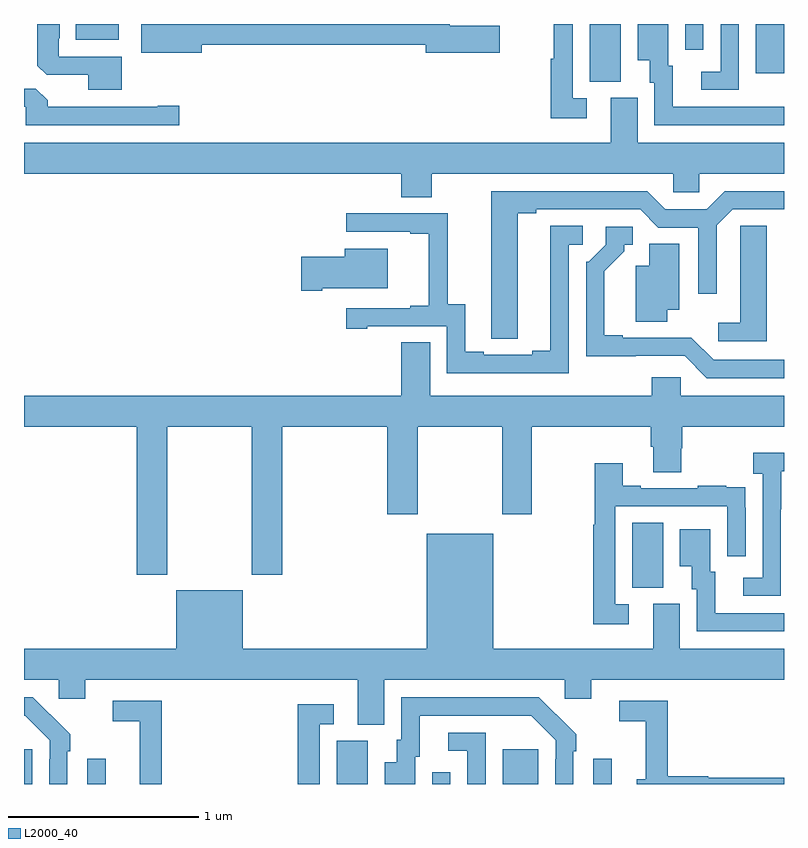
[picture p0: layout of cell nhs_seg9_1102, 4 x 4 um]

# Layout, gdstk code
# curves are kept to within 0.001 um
import gdstk
lib = gdstk.Library(unit=1e-6, precision=1e-09)
def R(c, l, rs):  # rectangles x0, y0, x1, y1
    for r in rs: c.add(gdstk.rectangle(r[:2], r[2:], *l))
def P(c, l, *ps):  # polygons
    for p in ps: c.add(gdstk.Polygon(p, *l))
L2000_40 = (2000, 40)

nhs_seg9_1102 = lib.new_cell('nhs_seg9_1102')
R(nhs_seg9_1102, L2000_40, [(171,1234.5,171.043,1234.684), (171.333,1234.5,171.429,1234.633), (172.646,1234.5,172.81,1234.728), (173.148,1234.5,173.244,1234.561), (173.519,1234.5,173.707,1234.684), (173.997,1234.5,174.093,1234.633), (174.2,1235.533,174.364,1235.876), (173.978,1238.197,174.142,1238.5), (174.851,1238.241,175,1238.5), (174.48,1238.364,174.576,1238.5), (171.272,1238.417,171.499,1238.5)])
P(nhs_seg9_1102, L2000_40, [(173.962,1238.109),(173.889,1238.109),(173.889,1238.5),(173.788,1238.5),(173.788,1238.316),(173.773,1238.316),(173.773,1238.004),(173.962,1238.004)],
  [(171.936,1238.392),(173.114,1238.392),(173.114,1238.35),(173.503,1238.35),(173.503,1238.492),(173.242,1238.492),(173.242,1238.5),(171.618,1238.5),(171.618,1238.348),(171.936,1238.348)],
  [(171.514,1238.328),(171.183,1238.328),(171.183,1238.425),(171.187,1238.425),(171.187,1238.5),(171.071,1238.5),(171.071,1238.281),(171.12,1238.232),(171.338,1238.232),(171.338,1238.153),(171.514,1238.153)],
  [(174.762,1238.5),(174.666,1238.5),(174.666,1238.25),(174.564,1238.25),(174.564,1238.154),(174.762,1238.154)],
  [(175,1238.065),(174.899,1238.065),(174.899,1238.064),(174.415,1238.064),(174.415,1238.28),(174.391,1238.28),(174.391,1238.5),(174.23,1238.5),(174.23,1238.309),(174.293,1238.309),(174.293,1238.19),(174.318,1238.19),(174.318,1237.968),(175,1237.968)],
  [(171.817,1238.069),(171.704,1238.069),(171.704,1238.064),(171.125,1238.064),(171.125,1238.098),(171.063,1238.16),(171,1238.16),(171,1238.064),(171.009,1238.064),(171.009,1237.968),(171.817,1237.968)],
  [(173.145,1237.712),(174.417,1237.712),(174.417,1237.614),(174.555,1237.614),(174.555,1237.712),(175,1237.712),(175,1237.876),(174.229,1237.876),(174.229,1238.112),(174.089,1238.112),(174.089,1237.876),(171,1237.876),(171,1237.712),(172.985,1237.712),(172.985,1237.588),(173.145,1237.588)],
  [(173.599,1237.504),(173.695,1237.504),(173.695,1237.524),(174.243,1237.524),(174.339,1237.428),(174.549,1237.428),(174.549,1237.08),(174.645,1237.08),(174.645,1237.44),(174.729,1237.524),(175,1237.524),(175,1237.62),(174.689,1237.62),(174.593,1237.524),(174.375,1237.524),(174.279,1237.62),(173.459,1237.62),(173.46,1236.844),(173.599,1236.844)],
  [(173.868,1237.338),(173.941,1237.338),(173.941,1237.439),(173.771,1237.439),(173.771,1236.779),(173.675,1236.779),(173.675,1236.759),(173.419,1236.759),(173.419,1236.774),(173.323,1236.774),(173.323,1237.025),(173.229,1237.025),(173.229,1237.503),(172.695,1237.503),(172.695,1237.407),(173.033,1237.407),(173.033,1237.395),(173.129,1237.395),(173.129,1237.018),(173.033,1237.018),(173.033,1237.005),(172.695,1237.005),(172.695,1236.897),(172.807,1236.897),(172.807,1236.909),(173.226,1236.909),(173.226,1236.663),(173.868,1236.663)],
  [(174.91,1237.439),(174.771,1237.439),(174.771,1237.331),(174.77,1237.331),(174.77,1236.928),(174.654,1236.928),(174.654,1236.831),(174.91,1236.831)],
  [(175,1236.732),(174.63,1236.732),(174.512,1236.85),(174.151,1236.849),(174.151,1236.862),(174.055,1236.862),(174.055,1237.198),(174.16,1237.303),(174.16,1237.338),(174.205,1237.338),(174.205,1237.434),(174.063,1237.434),(174.063,1237.338),(173.973,1237.248),(173.958,1237.248),(173.958,1236.752),(174.477,1236.753),(174.594,1236.636),(175,1236.636)],
  [(174.385,1236.995),(174.448,1236.995),(174.448,1237.343),(174.29,1237.343),(174.29,1237.228),(174.221,1237.228),(174.221,1236.934),(174.385,1236.934)],
  [(172.57,1237.109),(172.915,1237.109),(172.915,1237.318),(172.688,1237.318),(172.688,1237.275),(172.458,1237.275),(172.458,1237.097),(172.57,1237.097)],
  [(171.753,1236.38),(172.198,1236.38),(172.198,1235.601),(172.358,1235.601),(172.358,1236.38),(172.913,1236.38),(172.913,1235.919),(173.073,1235.919),(173.073,1236.38),(173.518,1236.38),(173.518,1235.919),(173.673,1235.919),(173.673,1236.38),(174.299,1236.38),(174.299,1236.274),(174.311,1236.274),(174.311,1236.142),(174.459,1236.142),(174.459,1236.267),(174.464,1236.267),(174.464,1236.38),(175,1236.38),(175,1236.544),(174.456,1236.544),(174.456,1236.642),(174.305,1236.642),(174.305,1236.544),(173.137,1236.544),(173.137,1236.824),(172.985,1236.824),(172.985,1236.544),(171,1236.544),(171,1236.38),(171.593,1236.38),(171.593,1235.601),(171.753,1235.601)],
  [(174.984,1235.947),(174.985,1235.947),(174.985,1236.147),(175,1236.147),(175,1236.244),(174.837,1236.244),(174.837,1236.134),(174.888,1236.134),(174.888,1235.586),(174.786,1235.586),(174.786,1235.49),(174.984,1235.49)],
  [(174.184,1235.445),(174.111,1235.445),(174.111,1235.961),(174.702,1235.961),(174.702,1235.7),(174.798,1235.7),(174.798,1235.954),(174.797,1235.954),(174.797,1236.063),(174.695,1236.063),(174.695,1236.07),(174.547,1236.07),(174.547,1236.057),(174.247,1236.057),(174.247,1236.07),(174.151,1236.07),(174.151,1236.187),(174.003,1236.187),(174.003,1235.864),(173.995,1235.864),(173.995,1235.34),(174.184,1235.34)],
  [(175,1235.4),(174.637,1235.4),(174.637,1235.616),(174.613,1235.616),(174.613,1235.842),(174.452,1235.842),(174.452,1235.645),(174.515,1235.645),(174.515,1235.526),(174.54,1235.526),(174.54,1235.304),(175,1235.304)],
  [(172.897,1235.048),(173.847,1235.048),(173.847,1234.95),(173.986,1234.95),(173.986,1235.048),(175,1235.048),(175,1235.212),(174.451,1235.212),(174.451,1235.448),(174.311,1235.448),(174.311,1235.212),(173.47,1235.212),(173.47,1235.818),(173.12,1235.818),(173.12,1235.212),(172.15,1235.212),(172.15,1235.521),(171.8,1235.521),(171.8,1235.212),(171,1235.212),(171,1235.048),(171.183,1235.048),(171.183,1234.95),(171.322,1234.95),(171.322,1235.048),(172.757,1235.048),(172.757,1234.813),(172.897,1234.813)],
  [(173.059,1234.644),(173.083,1234.644),(173.083,1234.86),(173.671,1234.86),(173.799,1234.731),(173.799,1234.631),(173.796,1234.631),(173.796,1234.5),(173.892,1234.5),(173.892,1234.673),(173.907,1234.673),(173.907,1234.761),(173.71,1234.956),(172.986,1234.956),(172.986,1234.734),(172.961,1234.734),(172.961,1234.615),(172.898,1234.615),(172.898,1234.5),(173.059,1234.5)],
  [(171.228,1234.673),(171.243,1234.673),(171.243,1234.761),(171.046,1234.956),(171,1234.956),(171,1234.86),(171.007,1234.86),(171.135,1234.731),(171.135,1234.631),(171.132,1234.631),(171.132,1234.5),(171.228,1234.5)],
  [(171.725,1234.938),(171.468,1234.938),(171.468,1234.83),(171.608,1234.83),(171.608,1234.5),(171.725,1234.5)],
  [(175,1234.532),(174.6,1234.532),(174.6,1234.54),(174.389,1234.54),(174.389,1234.938),(174.132,1234.938),(174.132,1234.83),(174.272,1234.83),(174.272,1234.525),(174.224,1234.525),(174.224,1234.5),(175,1234.5)],
  [(172.557,1234.815),(172.63,1234.815),(172.63,1234.921),(172.441,1234.921),(172.441,1234.5),(172.557,1234.5)],
  [(173.43,1234.77),(173.232,1234.77),(173.232,1234.674),(173.334,1234.674),(173.334,1234.5),(173.43,1234.5)])

lib.write_gds('nhs_seg9_1102.gds')
